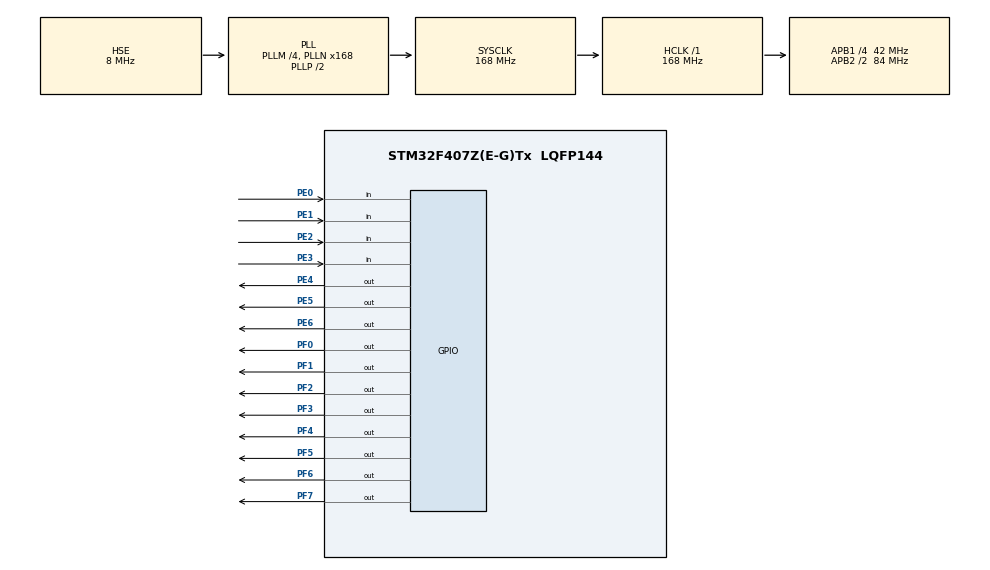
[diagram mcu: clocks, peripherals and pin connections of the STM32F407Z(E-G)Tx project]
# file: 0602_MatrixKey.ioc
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Mcu.Family=STM32F4
Mcu.Name=STM32F407Z(E-G)Tx
Mcu.Package=LQFP144
NVIC.PriorityGroup=NVIC_PRIORITYGROUP_4
PA13.Mode=Serial_Wire
PA13.Signal=SYS_JTMS-SWDIO
PA14.Mode=Serial_Wire
PA14.Signal=SYS_JTCK-SWCLK
PE0.GPIO_PuPd=GPIO_PULLUP
PE0.Signal=GPIO_Input
PE1.GPIO_PuPd=GPIO_PULLUP
PE1.Signal=GPIO_Input
PE2.GPIO_PuPd=GPIO_PULLUP
PE2.Signal=GPIO_Input
PE3.GPIO_PuPd=GPIO_PULLUP
PE3.Signal=GPIO_Input
PE4.PinState=GPIO_PIN_SET
PE4.Signal=GPIO_Output
PE5.PinState=GPIO_PIN_SET
PE5.Signal=GPIO_Output
PE6.PinState=GPIO_PIN_SET
PE6.Signal=GPIO_Output
PF0.PinState=GPIO_PIN_SET
PF0.Signal=GPIO_Output
PF1.PinState=GPIO_PIN_SET
PF1.Signal=GPIO_Output
PF2.PinState=GPIO_PIN_SET
PF2.Signal=GPIO_Output
PF3.PinState=GPIO_PIN_SET
PF3.Signal=GPIO_Output
PF4.PinState=GPIO_PIN_SET
PF4.Signal=GPIO_Output
PF5.PinState=GPIO_PIN_SET
PF5.Signal=GPIO_Output
PF6.PinState=GPIO_PIN_SET
PF6.Signal=GPIO_Output
PF7.PinState=GPIO_PIN_SET
PF7.Signal=GPIO_Output
PH0-OSC_IN.Mode=HSE-External-Oscillator
PH0-OSC_IN.Signal=RCC_OSC_IN
PH1-OSC_OUT.Mode=HSE-External-Oscillator
PH1-OSC_OUT.Signal=RCC_OSC_OUT
ProjectManager.HeapSize=0x200
ProjectManager.StackSize=0x400
ProjectManager.TargetToolchain=MDK-ARM V5.32
RCC.48MHZClocksFreq_Value=84000000
RCC.AHBFreq_Value=168000000
RCC.APB1CLKDivider=RCC_HCLK_DIV4
RCC.APB1Freq_Value=42000000
RCC.APB1TimFreq_Value=84000000
RCC.APB2CLKDivider=RCC_HCLK_DIV2
RCC.APB2Freq_Value=84000000
RCC.APB2TimFreq_Value=168000000
RCC.CortexFreq_Value=168000000
RCC.HCLKFreq_Value=168000000
RCC.HSE_VALUE=8000000
RCC.HSI_VALUE=16000000
RCC.LSE_VALUE=32768
RCC.PLLM=4
RCC.PLLN=168
RCC.PLLSourceVirtual=RCC_PLLSOURCE_HSE
RCC.SYSCLKFreq_VALUE=168000000
RCC.SYSCLKSource=RCC_SYSCLKSOURCE_PLLCLK
RCC.VCOOutputFreq_Value=336000000
board=custom

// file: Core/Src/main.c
/* USER CODE BEGIN Header */
/**
  ******************************************************************************
  * @file           : main.c
  * @brief          : Main program body
  ******************************************************************************
  * @attention
  *
  * Copyright (c) 2026 STMicroelectronics.
  * All rights reserved.
  *
  * This software is licensed under terms that can be found in the LICENSE file
  * in the root directory of this software component.
  * If no LICENSE file comes with this software, it is provided AS-IS.
  *
  ******************************************************************************
  */
/* USER CODE END Header */
#include "main.h"
#include "gpio.h"

/* USER CODE BEGIN Includes */
#include "stdio.h"
/* USER CODE END Includes */

//* USER CODE BEGIN PV */
typedef struct {
    GPIO_TypeDef* port;
    uint16_t pin;
} KeyPin_t;

KeyPin_t row_pins[3] = { {GPIOE, GPIO_PIN_4}, {GPIOE, GPIO_PIN_5}, {GPIOE, GPIO_PIN_6} };
KeyPin_t col_pins[4] = { {GPIOE, GPIO_PIN_0}, {GPIOE, GPIO_PIN_1}, {GPIOE, GPIO_PIN_2}, {GPIOE, GPIO_PIN_3} };

const uint8_t key_map[3][4] = {
    {1, 2, 3, 4},
    {5, 6, 7, 8},
    {9, 10, 11, 12}
};
/* USER CODE END PV */

void SystemClock_Config(void);

/* USER CODE BEGIN 0 */
uint8_t MatrixKey_Scan(void)
{
    static uint8_t last_key = 0;
    static uint32_t last_tick = 0;
    uint8_t current_key = 0;

    for (uint8_t i = 0; i < 3; i++)
    {
        HAL_GPIO_WritePin(GPIOE, GPIO_PIN_4 | GPIO_PIN_5 | GPIO_PIN_6, GPIO_PIN_SET);
        HAL_GPIO_WritePin(row_pins[i].port, row_pins[i].pin, GPIO_PIN_RESET);

        for(volatile int j=0; j<50; j++);

        for (uint8_t j = 0; j < 4; j++)
        {
            if (HAL_GPIO_ReadPin(col_pins[j].port, col_pins[j].pin) == GPIO_PIN_RESET)
            {
                current_key = key_map[i][j];
                break;
            }
        }
        if (current_key != 0) break;
    }

    if (current_key != 0)
    {
        if (current_key != last_key)
        {
            last_tick = HAL_GetTick();
            last_key = current_key;
        }
        else if (HAL_GetTick() - last_tick > 20)
        {
            if (HAL_GPIO_ReadPin(col_pins[0].port, col_pins[0].pin) != GPIO_PIN_RESET ||
                HAL_GPIO_ReadPin(col_pins[1].port, col_pins[1].pin) != GPIO_PIN_RESET ||
                HAL_GPIO_ReadPin(col_pins[2].port, col_pins[2].pin) != GPIO_PIN_RESET ||
                HAL_GPIO_ReadPin(col_pins[3].port, col_pins[3].pin) != GPIO_PIN_RESET)
            {
                uint8_t ret_val = last_key;
                last_key = 0;
                return ret_val;
            }
        }
    }
    else
    {
        last_key = 0;
    }

    return 0;
}

void Update_LED(uint8_t key)
{
    uint8_t display_val = key & 0x0F;
    GPIOF->ODR = 0x00F0 | (~display_val & 0x000F);
}
/* USER CODE END 0 */

int main(void)
{

  /* MCU Configuration--------------------------------------------------------*/

  /* Reset of all peripherals, Initializes the Flash interface and the Systick. */
  HAL_Init();

  /* Configure the system clock */
  SystemClock_Config();

  /* Initialize all configured peripherals */
  MX_GPIO_Init();
     /* USER CODE BEGIN 2 */
  HAL_GPIO_WritePin(GPIOF, GPIO_PIN_0 | GPIO_PIN_1 | GPIO_PIN_2 | GPIO_PIN_3 |
                           GPIO_PIN_4 | GPIO_PIN_5 | GPIO_PIN_6 | GPIO_PIN_7, GPIO_PIN_SET);
  /* USER CODE END 2 */

  while (1)
  {
    /* USER CODE BEGIN WHILE */
    uint8_t pressed_key = MatrixKey_Scan();
    if (pressed_key != 0)
    {
        Update_LED(pressed_key);
    }
    /* USER CODE END WHILE */
  }
  }

void SystemClock_Config(void)
{
  RCC_OscInitTypeDef RCC_OscInitStruct = {0};
  RCC_ClkInitTypeDef RCC_ClkInitStruct = {0};

  /** Configure the main internal regulator output voltage
  */
  __HAL_RCC_PWR_CLK_ENABLE();
  __HAL_PWR_VOLTAGESCALING_CONFIG(PWR_REGULATOR_VOLTAGE_SCALE1);

  /** Initializes the RCC Oscillators according to the specified parameters
  * in the RCC_OscInitTypeDef structure.
  */
  RCC_OscInitStruct.OscillatorType = RCC_OSCILLATORTYPE_HSE;
  RCC_OscInitStruct.HSEState = RCC_HSE_ON;
  RCC_OscInitStruct.PLL.PLLState = RCC_PLL_ON;
  RCC_OscInitStruct.PLL.PLLSource = RCC_PLLSOURCE_HSE;
  RCC_OscInitStruct.PLL.PLLM = 4;
  RCC_OscInitStruct.PLL.PLLN = 168;
  RCC_OscInitStruct.PLL.PLLP = RCC_PLLP_DIV2;
  RCC_OscInitStruct.PLL.PLLQ = 4;
  if (HAL_RCC_OscConfig(&RCC_OscInitStruct) != HAL_OK)
  {
    Error_Handler();
  }

  /** Initializes the CPU, AHB and APB buses clocks
  */
  RCC_ClkInitStruct.ClockType = RCC_CLOCKTYPE_HCLK|RCC_CLOCKTYPE_SYSCLK
                              |RCC_CLOCKTYPE_PCLK1|RCC_CLOCKTYPE_PCLK2;
  RCC_ClkInitStruct.SYSCLKSource = RCC_SYSCLKSOURCE_PLLCLK;
  RCC_ClkInitStruct.AHBCLKDivider = RCC_SYSCLK_DIV1;
  RCC_ClkInitStruct.APB1CLKDivider = RCC_HCLK_DIV4;
  RCC_ClkInitStruct.APB2CLKDivider = RCC_HCLK_DIV2;

  if (HAL_RCC_ClockConfig(&RCC_ClkInitStruct, FLASH_LATENCY_5) != HAL_OK)
  {
    Error_Handler();
  }
}

void Error_Handler(void)
{
  __disable_irq();
  while (1)
  {
  }
}
